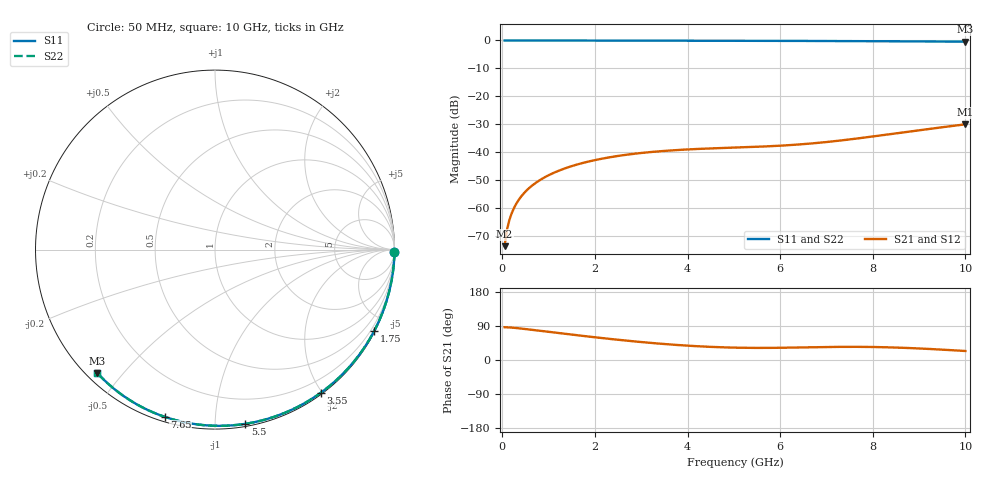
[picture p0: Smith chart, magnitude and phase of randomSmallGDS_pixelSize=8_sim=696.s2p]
! freq	dB(S11)	phase(S11)	dB(S12)	phase(S12)
!  dB(S21)	phase(S21)	dB(S22)	phase(S22)
!S-par simulation data
#  GHz  S  DB  R 50
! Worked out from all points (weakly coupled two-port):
!   200 points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, 50 MHz to 10 GHz, reference 50 ohm
!   highest |S21| = -30.03 dB at 10 GHz (marker M1); lowest = -73.7 dB at 50 MHz (marker M2)
!   lowest |S11| = -0.4 dB at 10 GHz (marker M3), VSWR 39.27, Z = 1.51 - j21.4 ohm
!   |S11| at or under -10 dB: nowhere
!   |S22| runs from -0.4 to 0.0 dB; largest |S21 - S12| = 0
!   S11 on the Smith chart (normalised r, x): 50 MHz: open; 1.75 GHz: 0.04, -4.15; 3.55 GHz: 0.02, -1.98; 5.5 GHz: 0.02, -1.19; 7.65 GHz: 0.02, -0.74; 10 GHz: 0.03, -0.43
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0.05  -0.00 -0.8  -73.67 86.5  -73.67 86.5  -0.00 -0.8
0.1  -0.00 -1.6  -67.90 86.2  -67.90 86.2  -0.00 -1.6
0.15  -0.00 -2.4  -64.46 86.0  -64.46 86.0  -0.00 -2.4
0.2  -0.00 -3.2  -62.00 85.6  -62.00 85.6  -0.00 -3.2
0.25  -0.00 -3.9  -60.08 85.0  -60.08 85.0  -0.00 -3.9
0.35  -0.00 -5.5  -57.19 83.8  -57.19 83.8  -0.00 -5.5
0.5  -0.01 -7.9  -54.13 81.7  -54.13 81.7  -0.01 -7.9
0.7  -0.01 -11.0  -51.26 78.8  -51.26 78.8  -0.01 -11.0
1  -0.02 -15.6  -48.27 74.3  -48.27 74.3  -0.02 -15.6
1.35  -0.03 -21.0  -45.83 69.2  -45.83 69.2  -0.03 -21.0
1.75  -0.03 -27.1  -43.82 63.4  -43.82 63.4  -0.03 -27.1
2.5  -0.05 -38.4  -41.35 53.3  -41.35 53.3  -0.05 -38.3
3.4  -0.07 -51.5  -39.68 43.1  -39.68 43.1  -0.07 -51.5
3.55  -0.07 -53.6  -39.49 41.7  -39.49 41.7  -0.07 -53.6
4.3  -0.09 -64.1  -38.80 35.8  -38.80 35.8  -0.09 -64.1
5.05  -0.11 -74.2  -38.34 32.5  -38.34 32.5  -0.11 -74.2
5.5  -0.13 -80.2  -38.08 31.9  -38.08 31.9  -0.13 -80.1
6.7  -0.18 -95.3  -36.85 33.7  -36.85 33.7  -0.18 -95.3
7.65  -0.24 -106.8  -35.14 34.7  -35.14 34.7  -0.24 -106.8
8.35  -0.29 -115.0  -33.61 33.4  -33.61 33.4  -0.29 -114.9
9.2  -0.36 -124.7  -31.73 29.3  -31.73 29.3  -0.36 -124.7
10  -0.44 -133.7  -30.03 23.7  -30.03 23.7  -0.44 -133.7
